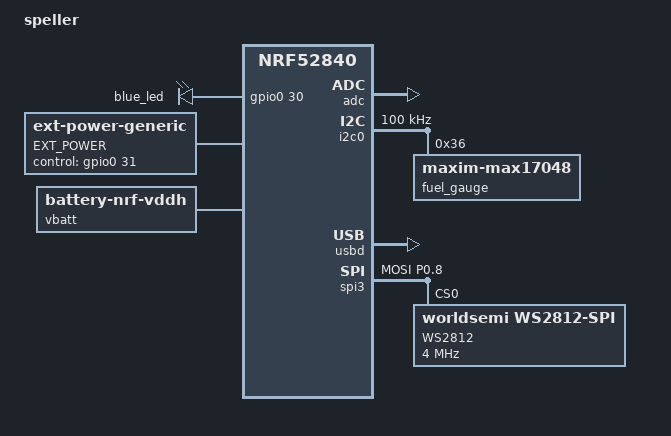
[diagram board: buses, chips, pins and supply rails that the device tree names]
/*
 * Copyright (c) 2021 The ZMK Contributors
 *
 * SPDX-License-Identifier: MIT
 */

/dts-v1/;
#include <nordic/nrf52840_qiaa.dtsi>
#include "speller-pinctrl.dtsi"
#include "speller.dtsi"
#include <dt-bindings/led/led.h>

/ {
    model = "speller";
    compatible = "speller";

    chosen {
        zephyr,code-partition = &code_partition;
        zephyr,sram = &sram0;
        zephyr,flash = &flash0;
        zmk,battery = &fuel_gauge;
        zmk,underglow = &led_strip;
    };

    leds {
        compatible = "gpio-leds";
        blue_led: led_0 {
            gpios = <&gpio0 30 GPIO_ACTIVE_HIGH>;
        };
    };

    // Node name must match original "EXT_POWER" label to preserve user settings.
    EXT_POWER {
        compatible = "zmk,ext-power-generic";
        control-gpios = <&gpio0 31 GPIO_ACTIVE_HIGH>;
        init-delay-ms = <50>;
    };

    vbatt: vbatt {
        compatible = "zmk,battery-nrf-vddh";
    };
};

&adc {
    status = "okay";
};

&gpiote {
    status = "okay";
};

&gpio0 {
    status = "okay";
};

&gpio1 {
    status = "okay";
};

&i2c0 {
    status = "okay";
    compatible = "nordic,nrf-twim";
    pinctrl-0 = <&i2c0_default>;
    pinctrl-1 = <&i2c0_sleep>;
    pinctrl-names = "default", "sleep";
    clock-frequency = <100000>;

    fuel_gauge: max17048@36 {
        compatible = "zmk,maxim-max17048";
		reg = <0x36>;
        status = "okay";
    };
};

&spi1 {
    compatible = "nordic,nrf-spim";
    pinctrl-0 = <&spi1_default>;
    pinctrl-1 = <&spi1_sleep>;
    pinctrl-names = "default", "sleep";
};

zephyr_udc0: &usbd {
    status = "okay";
};


&flash0 {
    /*
     * For more information, see:
     * http://docs.zephyrproject.org/latest/devices/dts/flash_partitions.html
     */
    partitions {
        compatible = "fixed-partitions";
        #address-cells = <1>;
        #size-cells = <1>;

        sd_partition: partition@0 {
            reg = <0x00000000 0x00026000>;
        };
        code_partition: partition@26000 {
            reg = <0x00026000 0x000c6000>;
        };

        /*
         * The flash starting at 0x000ec000 and ending at
         * 0x000f3fff is reserved for use by the application.
         */

        /*
         * Storage partition will be used by FCB/LittleFS/NVS
         * if enabled.
         */
        storage_partition: partition@ec000 {
            reg = <0x000ec000 0x00008000>;
        };

        boot_partition: partition@f4000 {
            reg = <0x000f4000 0x0000c000>;
        };
    };
};

&pinctrl {
    spi3_default: spi3_default {
        group1 {
            psels = <NRF_PSEL(SPIM_MOSI, 0, 8)>;
        };
    };

    spi3_sleep: spi3_sleep {
        group1 {
            psels = <NRF_PSEL(SPIM_MOSI, 0, 8)>;
            low-power-enable;
        };
    };
};

&spi3 {
    compatible = "nordic,nrf-spim";
    status = "okay";

    pinctrl-0 = <&spi3_default>;
    pinctrl-1 = <&spi3_sleep>;
    pinctrl-names = "default", "sleep";

    led_strip: ws2812@0 {
        compatible = "worldsemi,ws2812-spi";
        label = "WS2812";

        /* SPI */
        reg = <0>; /* ignored, but necessary for SPI bindings */
        spi-max-frequency = <4000000>;

        /* WS2812 */
        chain-length = <40>; /* arbitrary; change at will */
        spi-one-frame = <0x70>;
        spi-zero-frame = <0x40>;

        color-mapping = <LED_COLOR_ID_GREEN LED_COLOR_ID_RED LED_COLOR_ID_BLUE>;
    };
};
